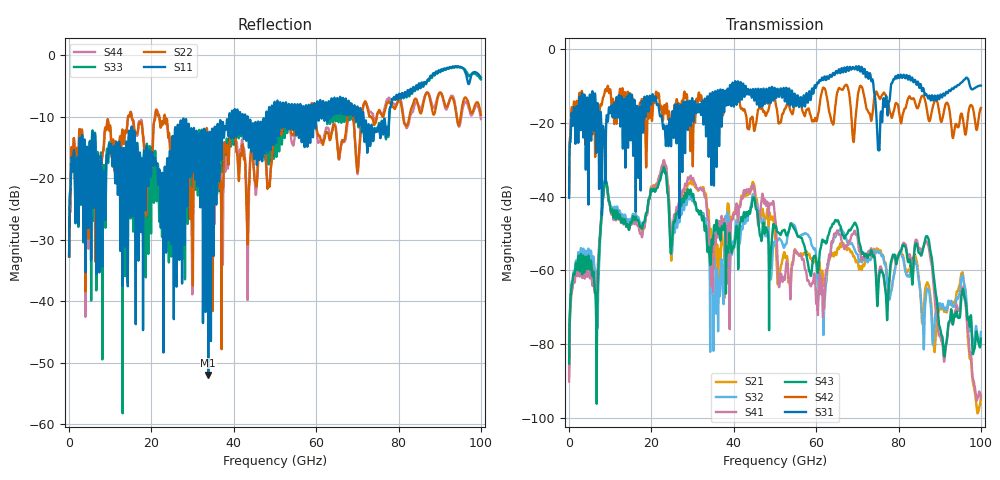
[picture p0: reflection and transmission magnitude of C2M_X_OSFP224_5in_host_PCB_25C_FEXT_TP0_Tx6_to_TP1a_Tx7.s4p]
# GHz S RI R 45
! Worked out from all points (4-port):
!   4000 points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, 25 MHz to 100 GHz, reference 45 ohm
!   strongest paths, dB at 25 MHz, 25.02 GHz, 50.02 GHz, 75.03 GHz, 100 GHz:
!     S31: -40.3, -17.6, -10.9, -27.2, -9.9
!     S42: -39.3, -21.2, -13.8, -12.5, -15.9
!     S43: -85.3, -52.0, -48.2, -66.2, -78.5
!     S41: -90.2, -49.8, -45.6, -64.4, -94.7
!     S32: -86.2, -55.2, -52.6, -54.9, -76.7
!     S21: -88.7, -53.3, -50.5, -54.2, -93.7
!   lowest |S11| = -52.0 dB at 33.8 GHz (marker M1), VSWR 1.01, Z = 45.2 - j0.0909 ohm
!   |S11| at or under -10 dB: start of sweep to 38.89 GHz; 43.38 GHz to 47.83 GHz (4.452 GHz wide, 9.76 % of centre); 71.5 GHz to 77.73 GHz (6.231 GHz wide, 8.35 % of centre)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
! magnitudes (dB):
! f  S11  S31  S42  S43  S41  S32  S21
! 25 MHz  -32.7  -40.3  -39.3  -85.3  -90.2  -86.2  -88.7
! 6.625 GHz  -35.7  -28.1  -18.8  -76.4  -64.8  -62.2  -67.4
! 8.85 GHz  -24.7  -33.7  -10.8  -35.3  -35.6  -35.3  -35.6
! 33.8 GHz  -52.0  -17.0  -15.0  -54.0  -45.9  -50.9  -43.5
! 86.92 GHz  -4.2  -12.6  -16.7  -50.8  -52.4  -65.0  -63.3
! 91.03 GHz  -2.2  -12.2  -16.7  -82.9  -84.5  -70.6  -71.1
! 100 GHz  -3.6  -9.9  -15.9  -78.5  -94.7  -76.7  -93.7
